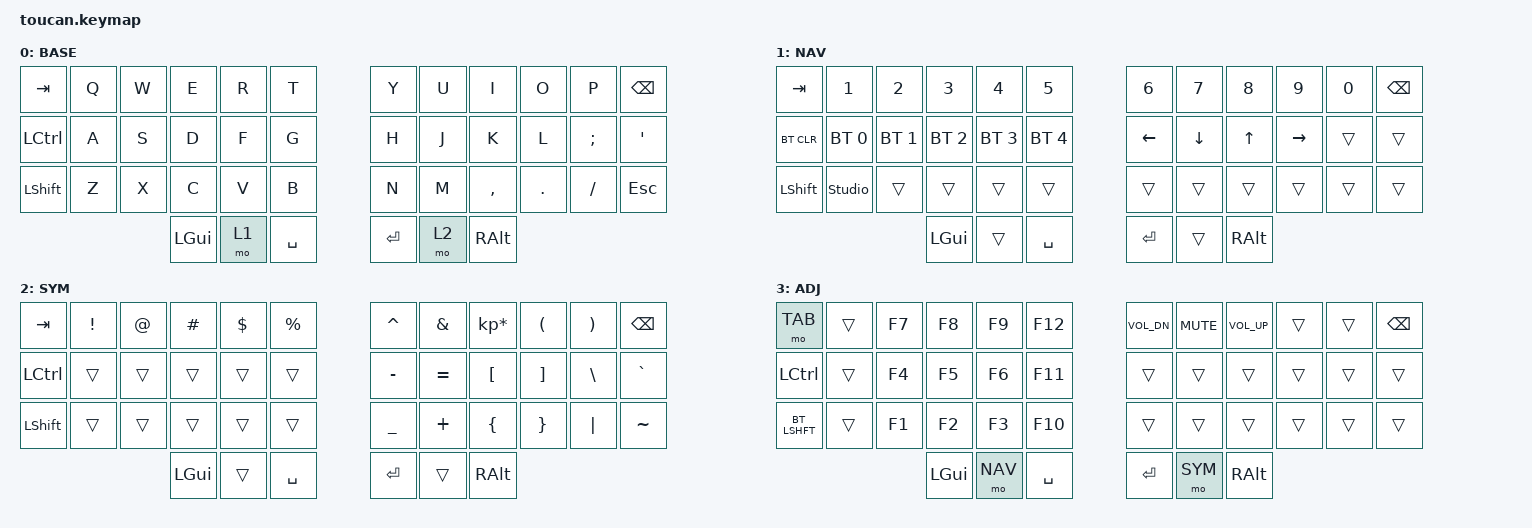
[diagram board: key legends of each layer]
#include <behaviors.dtsi>
#include <dt-bindings/zmk/keys.h>
#include <dt-bindings/zmk/bt.h>
#include <dt-bindings/zmk/outputs.h>

#define LAYER_BASE 0
#define LAYER_NAV  1
#define LAYER_SYM  2
#define LAYER_ADJ  3

/ {
    conditional_layers {
        compatible = "zmk,conditional-layers";
        tri_layer {
            if-layers = <1 2>;
            then-layer = <3>;
        };
    };

    keymap {
        compatible = "zmk,keymap";

        LAYER_BASE {
            display-name = "BASE";
            bindings = <
//    ┌──────┬───┬───┬───┬──────┬──────┐               ┌──────┬──────┬───┬───┬───┬──────┐
//    │ tab  │ Q │ W │ E │  R   │  T   │               │  Y   │  U   │ I │ O │ P │ bspc │
//    ├──────┼───┼───┼───┼──────┼──────┤               ├──────┼──────┼───┼───┼───┼──────┤
//    │ lctl │ A │ S │ D │  F   │  G   │               │  H   │  J   │ K │ L │ ; │  '   │
//    ├──────┼───┼───┼───┼──────┼──────┤               ├──────┼──────┼───┼───┼───┼──────┤
//    │ lsft │ Z │ X │ C │  V   │  B   │               │  N   │  M   │ , │ . │ / │ esc  │
//    └──────┴───┴───┴───┼──────┼──────┼─────┐   ┌─────┼──────┼──────┼───┴───┴───┴──────┘
//                       │ lgui │ mo 1 │ spc │   │ ent │ mo 2 │ ralt │
//                       └──────┴──────┴─────┘   └─────┴──────┴──────┘
  &kp TAB     &kp Q   &kp W   &kp E   &kp R      &kp T                             &kp Y   &kp U      &kp I       &kp O     &kp P      &kp BSPC
  &kp LCTRL   &kp A   &kp S   &kp D   &kp F      &kp G                             &kp H   &kp J      &kp K       &kp L     &kp SEMI   &kp SQT
  &kp LSHFT   &kp Z   &kp X   &kp C   &kp V      &kp B                             &kp N   &kp M      &kp COMMA   &kp DOT   &kp FSLH   &kp ESC
                                      &kp LGUI   &mo 1   &kp SPACE       &kp RET   &mo 2   &kp RALT
            >;
        };

        LAYER_NAV {
            display-name = "NAV";
            bindings = <
//    ┌────────┬────────────────┬──────────┬──────────┬──────────┬──────────┐               ┌──────┬──────┬─────┬──────┬─────┬──────┐
//    │  tab   │       1        │    2     │    3     │    4     │    5     │               │  6   │  7   │  8  │  9   │  0  │ bspc │
//    ├────────┼────────────────┼──────────┼──────────┼──────────┼──────────┤               ├──────┼──────┼─────┼──────┼─────┼──────┤
//    │ bt_clr │    bt_sel 0    │ bt_sel 1 │ bt_sel 2 │ bt_sel 3 │ bt_sel 4 │               │ left │ down │ up  │ rght │     │      │
//    ├────────┼────────────────┼──────────┼──────────┼──────────┼──────────┤               ├──────┼──────┼─────┼──────┼─────┼──────┤
//    │  lsft  │ &studio_unlock │          │          │          │          │               │      │      │     │      │     │      │
//    └────────┴────────────────┴──────────┴──────────┼──────────┼──────────┼─────┐   ┌─────┼──────┼──────┼─────┴──────┴─────┴──────┘
//                                                    │   lgui   │          │ spc │   │ ent │      │ ralt │
//                                                    └──────────┴──────────┴─────┘   └─────┴──────┴──────┘
  &kp TAB      &kp N1           &kp N2         &kp N3         &kp N4         &kp N5                                   &kp N6     &kp N7     &kp N8   &kp N9      &kp N0   &kp BSPC
  &bt BT_CLR   &bt BT_SEL 0     &bt BT_SEL 1   &bt BT_SEL 2   &bt BT_SEL 3   &bt BT_SEL 4                             &kp LEFT   &kp DOWN   &kp UP   &kp RIGHT   &trans   &trans
  &kp LSHFT    &studio_unlock   &trans         &trans         &trans         &trans                                   &trans     &trans     &trans   &trans      &trans   &trans
                                                              &kp LGUI       &trans         &kp SPACE       &kp RET   &trans     &kp RALT
            >;
        };

        LAYER_SYM {
            display-name = "SYM";
            bindings = <
//    ┌──────┬─────┬─────┬─────┬──────┬─────┐               ┌─────┬──────┬──────┬───┬───┬──────┐
//    │ tab  │  !  │  @  │  #  │  $   │  %  │               │  ^  │  &   │ kp_* │ ( │ ) │ bspc │
//    ├──────┼─────┼─────┼─────┼──────┼─────┤               ├─────┼──────┼──────┼───┼───┼──────┤
//    │ lctl │     │     │     │      │     │               │  -  │  =   │  [   │ ] │ \ │  `   │
//    ├──────┼─────┼─────┼─────┼──────┼─────┤               ├─────┼──────┼──────┼───┼───┼──────┤
//    │ lsft │     │     │     │      │     │               │  _  │  +   │  {   │ } │ | │  ~   │
//    └──────┴─────┴─────┴─────┼──────┼─────┼─────┐   ┌─────┼─────┼──────┼──────┴───┴───┴──────┘
//                             │ lgui │     │ spc │   │ ent │     │ ralt │
//                             └──────┴─────┴─────┘   └─────┴─────┴──────┘
  &kp TAB     &kp EXCL   &kp AT   &kp HASH   &kp DLLR   &kp PRCNT                             &kp CARET   &kp AMPS    &kp KP_MULTIPLY   &kp LPAR   &kp RPAR   &kp BSPC
  &kp LCTRL   &trans     &trans   &trans     &trans     &trans                                &kp MINUS   &kp EQUAL   &kp LBKT          &kp RBKT   &kp BSLH   &kp GRAVE
  &kp LSHFT   &trans     &trans   &trans     &trans     &trans                                &kp UNDER   &kp PLUS    &kp LBRC          &kp RBRC   &kp PIPE   &kp TILDE
                                             &kp LGUI   &trans      &kp SPACE       &kp RET   &trans      &kp RALT
            >;
        };

        LAYER_ADJ {
            display-name = "ADJ";
            bindings = <
//    ┌─────────┬─────┬────┬────┬──────┬────────┐               ┌────────┬──────┬──────┬─────┬─────┬──────┐
//    │ mo tab  │     │ f7 │ f8 │  f9  │  f12   │               │  vold  │ mute │ volu │     │     │ bspc │
//    ├─────────┼─────┼────┼────┼──────┼────────┤               ├────────┼──────┼──────┼─────┼─────┼──────┤
//    │  lctl   │     │ f4 │ f5 │  f6  │  f11   │               │        │      │      │     │     │      │
//    ├─────────┼─────┼────┼────┼──────┼────────┤               ├────────┼──────┼──────┼─────┼─────┼──────┤
//    │ bt_lsft │     │ f1 │ f2 │  f3  │  f10   │               │        │      │      │     │     │      │
//    └─────────┴─────┴────┴────┼──────┼────────┼─────┐   ┌─────┼────────┼──────┼──────┴─────┴─────┴──────┘
//                              │ lgui │ mo NAV │ spc │   │ ent │ mo SYM │ ralt │
//                              └──────┴────────┴─────┘   └─────┴────────┴──────┘
  &mo TAB     &trans   &kp F7   &kp F8   &kp F9     &kp F12                             &kp C_VOL_DN   &kp C_MUTE   &kp C_VOL_UP   &trans   &trans   &kp BSPC
  &kp LCTRL   &trans   &kp F4   &kp F5   &kp F6     &kp F11                             &trans         &trans       &trans         &trans   &trans   &trans
  &bt LSHFT   &trans   &kp F1   &kp F2   &kp F3     &kp F10                             &trans         &trans       &trans         &trans   &trans   &trans
                                         &kp LGUI   &mo NAV   &kp SPACE       &kp RET   &mo SYM        &kp RALT
            >;
        };
    };
};
